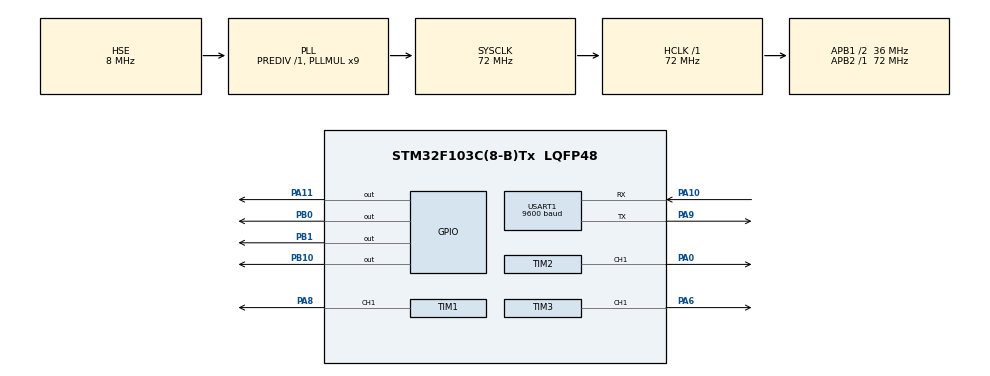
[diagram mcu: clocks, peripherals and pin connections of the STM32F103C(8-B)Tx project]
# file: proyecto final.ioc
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Mcu.Family=STM32F1
Mcu.Name=STM32F103C(8-B)Tx
Mcu.Package=LQFP48
NVIC.PriorityGroup=NVIC_PRIORITYGROUP_4
NVIC.USART1_IRQn=true\:0\:0\:false\:false\:true\:true\:true\:true
PA0-WKUP.Signal=S_TIM2_CH1_ETR
PA10.Mode=Asynchronous
PA10.Signal=USART1_RX
PA11.Signal=GPIO_Output
PA13.Mode=Serial_Wire
PA13.Signal=SYS_JTMS-SWDIO
PA14.Mode=Serial_Wire
PA14.Signal=SYS_JTCK-SWCLK
PA6.Signal=S_TIM3_CH1
PA8.Signal=S_TIM1_CH1
PA9.Mode=Asynchronous
PA9.Signal=USART1_TX
PB0.Signal=GPIO_Output
PB1.Signal=GPIO_Output
PB10.Signal=GPIO_Output
PD0-OSC_IN.Mode=HSE-External-Oscillator
PD0-OSC_IN.Signal=RCC_OSC_IN
PD1-OSC_OUT.Mode=HSE-External-Oscillator
PD1-OSC_OUT.Signal=RCC_OSC_OUT
ProjectManager.HeapSize=0x200
ProjectManager.StackSize=0x400
ProjectManager.TargetToolchain=STM32CubeIDE
RCC.AHBFreq_Value=72000000
RCC.APB1CLKDivider=RCC_HCLK_DIV2
RCC.APB1Freq_Value=36000000
RCC.APB1TimFreq_Value=72000000
RCC.APB2Freq_Value=72000000
RCC.APB2TimFreq_Value=72000000
RCC.HCLKFreq_Value=72000000
RCC.PLLMUL=RCC_PLL_MUL9
RCC.PLLSourceVirtual=RCC_PLLSOURCE_HSE
RCC.SYSCLKFreq_VALUE=72000000
RCC.SYSCLKSource=RCC_SYSCLKSOURCE_PLLCLK
RCC.USBFreq_Value=72000000
SH.S_TIM1_CH1.0=TIM1_CH1,PWM Generation1 CH1
SH.S_TIM2_CH1_ETR.0=TIM2_CH1,PWM Generation1 CH1
SH.S_TIM3_CH1.0=TIM3_CH1,PWM Generation1 CH1
TIM1.AutoReloadPreload=TIM_AUTORELOAD_PRELOAD_ENABLE
TIM1.Channel-PWM\ Generation1\ CH1=TIM_CHANNEL_1
TIM1.Period=19999
TIM1.Prescaler=71
TIM2.Channel-PWM\ Generation1\ CH1=TIM_CHANNEL_1
TIM2.Period=999
TIM2.Prescaler=71
TIM3.Channel-PWM\ Generation1\ CH1=TIM_CHANNEL_1
TIM3.Period=999
TIM3.Prescaler=71
USART1.BaudRate=9600
USART1.VirtualMode=VM_ASYNC
board=custom

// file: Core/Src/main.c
/* USER CODE BEGIN Header */
/**
  ******************************************************************************
  * @file           : main.c
  * @brief          : Main program body - Control 2 motores + Bluetooth + Servo
  ******************************************************************************
  */
/* USER CODE END Header */
#include "main.h"

/* USER CODE BEGIN Includes */
#include <string.h>
/* USER CODE END Includes */

/* USER CODE BEGIN PD */
#define MOTOR_DUTY       999   /* 0..999 => 100% (Period=999) */

// Valores para el servo (50Hz -> Periodo de 20ms -> 20000 cuentas)
// 0.5ms -> 500 cuentas (Posición 0 grados)
// 1.5ms -> 1500 cuentas (Posición 90 grados)
// 2.5ms -> 2500 cuentas (Posición 180 grados)
#define SERVO_ABIERTO    500   /* Grados para abrir la pinza */
#define SERVO_CERRADO    1200  /* Grados para cerrar la pinza */
/* USER CODE END PD */

TIM_HandleTypeDef htim1; // Añadido para el Servo
TIM_HandleTypeDef htim2;
TIM_HandleTypeDef htim3;

UART_HandleTypeDef huart1;

/* USER CODE BEGIN PV */
uint8_t rx_data;
uint8_t estado_pinza = 0; // 0 = Abierta, 1 = Cerrada
/* USER CODE END PV */

void SystemClock_Config(void);
static void MX_GPIO_Init(void);
static void MX_TIM1_Init(void); // Prototipo TIM1
static void MX_TIM2_Init(void);
static void MX_TIM3_Init(void);
static void MX_USART1_UART_Init(void);

/* USER CODE BEGIN 0 */

/* --- Funciones de control de motores --- */
static void MotorA_Adelante(uint32_t duty)
{
    HAL_GPIO_WritePin(GPIOB, GPIO_PIN_10, GPIO_PIN_SET);
    HAL_GPIO_WritePin(GPIOA, GPIO_PIN_11, GPIO_PIN_RESET);
    __HAL_TIM_SET_COMPARE(&htim2, TIM_CHANNEL_1, duty);
}

static void MotorA_Atras(uint32_t duty)
{
    HAL_GPIO_WritePin(GPIOB, GPIO_PIN_10, GPIO_PIN_RESET);
    HAL_GPIO_WritePin(GPIOA, GPIO_PIN_11, GPIO_PIN_SET);
    __HAL_TIM_SET_COMPARE(&htim2, TIM_CHANNEL_1, duty);
}

static void MotorA_Stop(void)
{
    HAL_GPIO_WritePin(GPIOB, GPIO_PIN_10, GPIO_PIN_RESET);
    HAL_GPIO_WritePin(GPIOA, GPIO_PIN_11, GPIO_PIN_RESET);
    __HAL_TIM_SET_COMPARE(&htim2, TIM_CHANNEL_1, 0);
}

static void MotorB_Adelante(uint32_t duty)
{
    HAL_GPIO_WritePin(GPIOB, GPIO_PIN_0, GPIO_PIN_SET);
    HAL_GPIO_WritePin(GPIOB, GPIO_PIN_1, GPIO_PIN_RESET);
    __HAL_TIM_SET_COMPARE(&htim3, TIM_CHANNEL_1, duty);
}

static void MotorB_Atras(uint32_t duty)
{
    HAL_GPIO_WritePin(GPIOB, GPIO_PIN_0, GPIO_PIN_RESET);
    HAL_GPIO_WritePin(GPIOB, GPIO_PIN_1, GPIO_PIN_SET);
    __HAL_TIM_SET_COMPARE(&htim3, TIM_CHANNEL_1, duty);
}

static void MotorB_Stop(void)
{
    HAL_GPIO_WritePin(GPIOB, GPIO_PIN_0, GPIO_PIN_RESET);
    HAL_GPIO_WritePin(GPIOB, GPIO_PIN_1, GPIO_PIN_RESET);
    __HAL_TIM_SET_COMPARE(&htim3, TIM_CHANNEL_1, 0);
}

/* --- Callback de recepción UART (Bluetooth) --- */
void HAL_UART_RxCpltCallback(UART_HandleTypeDef *huart)
{
  if (huart->Instance == USART1)
  {
    if (rx_data != '\n' && rx_data != '\r' && rx_data != ' ')
    {
        switch(rx_data)
        {
          case 'F': // Adelante
            MotorA_Adelante(MOTOR_DUTY);
            MotorB_Adelante(MOTOR_DUTY);
            break;

          case 'B': // Atrás
            MotorA_Atras(MOTOR_DUTY);
            MotorB_Atras(MOTOR_DUTY);
            break;

          case 'L': // Izquierda
            MotorA_Stop();
            MotorB_Adelante(MOTOR_DUTY);
            break;

          case 'R': // Derecha
            MotorA_Adelante(MOTOR_DUTY);
            MotorB_Stop();
            break;

          case 'S': // Stop
            MotorA_Stop();
            MotorB_Stop();
            break;

          case 'X': // Toggle Pinza
            if (estado_pinza == 0) {
                // Si está abierta, cerrar
                __HAL_TIM_SET_COMPARE(&htim1, TIM_CHANNEL_1, SERVO_CERRADO);
                estado_pinza = 1;
            } else {
                // Si está cerrada, abrir
                __HAL_TIM_SET_COMPARE(&htim1, TIM_CHANNEL_1, SERVO_ABIERTO);
                estado_pinza = 0;
            }
            break;

          default:
            MotorA_Stop();
            MotorB_Stop();
            break;
        }
    }
    HAL_UART_Receive_IT(&huart1, &rx_data, 1);
  }
}
/* USER CODE END 0 */

int main(void)
{
  HAL_Init();
  SystemClock_Config();

  MX_GPIO_Init();
  MX_TIM1_Init(); // Iniciamos TIM1
  MX_TIM2_Init();
  MX_TIM3_Init();
  MX_USART1_UART_Init();

  /* USER CODE BEGIN 2 */
  HAL_TIM_PWM_Start(&htim1, TIM_CHANNEL_1); // Arrancar PWM del Servo
  HAL_TIM_PWM_Start(&htim2, TIM_CHANNEL_1);
  HAL_TIM_PWM_Start(&htim3, TIM_CHANNEL_1);

  MotorA_Stop();
  MotorB_Stop();

  // Iniciar pinza abierta por defecto
  __HAL_TIM_SET_COMPARE(&htim1, TIM_CHANNEL_1, SERVO_ABIERTO);
  estado_pinza = 0;

  HAL_UART_Receive_IT(&huart1, &rx_data, 1);
  /* USER CODE END 2 */

  while (1)
  {
  }
}

void SystemClock_Config(void)
{
  RCC_OscInitTypeDef RCC_OscInitStruct = {0};
  RCC_ClkInitTypeDef RCC_ClkInitStruct = {0};

  RCC_OscInitStruct.OscillatorType = RCC_OSCILLATORTYPE_HSE;
  RCC_OscInitStruct.HSEState = RCC_HSE_ON;
  RCC_OscInitStruct.HSEPredivValue = RCC_HSE_PREDIV_DIV1;
  RCC_OscInitStruct.HSIState = RCC_HSI_ON;
  RCC_OscInitStruct.PLL.PLLState = RCC_PLL_ON;
  RCC_OscInitStruct.PLL.PLLSource = RCC_PLLSOURCE_HSE;
  RCC_OscInitStruct.PLL.PLLMUL = RCC_PLL_MUL9;
  if (HAL_RCC_OscConfig(&RCC_OscInitStruct) != HAL_OK)
  {
    Error_Handler();
  }

  RCC_ClkInitStruct.ClockType = RCC_CLOCKTYPE_HCLK|RCC_CLOCKTYPE_SYSCLK
                              |RCC_CLOCKTYPE_PCLK1|RCC_CLOCKTYPE_PCLK2;
  RCC_ClkInitStruct.SYSCLKSource = RCC_SYSCLKSOURCE_PLLCLK;
  RCC_ClkInitStruct.AHBCLKDivider = RCC_SYSCLK_DIV1;
  RCC_ClkInitStruct.APB1CLKDivider = RCC_HCLK_DIV2;
  RCC_ClkInitStruct.APB2CLKDivider = RCC_HCLK_DIV1;

  if (HAL_RCC_ClockConfig(&RCC_ClkInitStruct, FLASH_LATENCY_2) != HAL_OK)
  {
    Error_Handler();
  }
}

static void MX_TIM1_Init(void)
{
  TIM_MasterConfigTypeDef sMasterConfig = {0};
  TIM_OC_InitTypeDef sConfigOC = {0};
  TIM_BreakDeadTimeConfigTypeDef sBreakDeadTimeConfig = {0};

  htim1.Instance = TIM1;
  htim1.Init.Prescaler = 71;
  htim1.Init.CounterMode = TIM_COUNTERMODE_UP;
  htim1.Init.Period = 19999; // 20ms periodo (50Hz)
  htim1.Init.ClockDivision = TIM_CLOCKDIVISION_DIV1;
  htim1.Init.RepetitionCounter = 0;
  htim1.Init.AutoReloadPreload = TIM_AUTORELOAD_PRELOAD_ENABLE;
  if (HAL_TIM_PWM_Init(&htim1) != HAL_OK)
  {
    Error_Handler();
  }
  sMasterConfig.MasterOutputTrigger = TIM_TRGO_RESET;
  sMasterConfig.MasterSlaveMode = TIM_MASTERSLAVEMODE_DISABLE;
  if (HAL_TIMEx_MasterConfigSynchronization(&htim1, &sMasterConfig) != HAL_OK)
  {
    Error_Handler();
  }
  sConfigOC.OCMode = TIM_OCMODE_PWM1;
  sConfigOC.Pulse = SERVO_ABIERTO; // Posición inicial
  sConfigOC.OCPolarity = TIM_OCPOLARITY_HIGH;
  sConfigOC.OCNPolarity = TIM_OCNPOLARITY_HIGH;
  sConfigOC.OCFastMode = TIM_OCFAST_DISABLE;
  sConfigOC.OCIdleState = TIM_OCIDLESTATE_RESET;
  sConfigOC.OCNIdleState = TIM_OCNIDLESTATE_RESET;
  if (HAL_TIM_PWM_ConfigChannel(&htim1, &sConfigOC, TIM_CHANNEL_1) != HAL_OK)
  {
    Error_Handler();
  }

  sBreakDeadTimeConfig.OffStateRunMode = TIM_OSSR_DISABLE;
  sBreakDeadTimeConfig.OffStateIDLEMode = TIM_OSSI_DISABLE;
  sBreakDeadTimeConfig.LockLevel = TIM_LOCKLEVEL_OFF;
  sBreakDeadTimeConfig.DeadTime = 0;
  sBreakDeadTimeConfig.BreakState = TIM_BREAK_DISABLE;
  sBreakDeadTimeConfig.BreakPolarity = TIM_BREAKPOLARITY_HIGH;
  sBreakDeadTimeConfig.AutomaticOutput = TIM_AUTOMATICOUTPUT_DISABLE;
  if (HAL_TIMEx_ConfigBreakDeadTime(&htim1, &sBreakDeadTimeConfig) != HAL_OK)
  {
    Error_Handler();
  }

  HAL_TIM_MspPostInit(&htim1);
}

static void MX_TIM2_Init(void)
{
  TIM_MasterConfigTypeDef sMasterConfig = {0};
  TIM_OC_InitTypeDef sConfigOC = {0};

  htim2.Instance = TIM2;
  htim2.Init.Prescaler = 71;
  htim2.Init.CounterMode = TIM_COUNTERMODE_UP;
  htim2.Init.Period = 999;
  htim2.Init.ClockDivision = TIM_CLOCKDIVISION_DIV1;
  htim2.Init.AutoReloadPreload = TIM_AUTORELOAD_PRELOAD_DISABLE;
  if (HAL_TIM_PWM_Init(&htim2) != HAL_OK)
  {
    Error_Handler();
  }
  sMasterConfig.MasterOutputTrigger = TIM_TRGO_RESET;
  sMasterConfig.MasterSlaveMode = TIM_MASTERSLAVEMODE_DISABLE;
  if (HAL_TIMEx_MasterConfigSynchronization(&htim2, &sMasterConfig) != HAL_OK)
  {
    Error_Handler();
  }
  sConfigOC.OCMode = TIM_OCMODE_PWM1;
  sConfigOC.Pulse = 0;
  sConfigOC.OCPolarity = TIM_OCPOLARITY_HIGH;
  sConfigOC.OCFastMode = TIM_OCFAST_DISABLE;
  if (HAL_TIM_PWM_ConfigChannel(&htim2, &sConfigOC, TIM_CHANNEL_1) != HAL_OK)
  {
    Error_Handler();
  }
  HAL_TIM_MspPostInit(&htim2);
}

static void MX_TIM3_Init(void)
{
  TIM_MasterConfigTypeDef sMasterConfig = {0};
  TIM_OC_InitTypeDef sConfigOC = {0};

  htim3.Instance = TIM3;
  htim3.Init.Prescaler = 71;
  htim3.Init.CounterMode = TIM_COUNTERMODE_UP;
  htim3.Init.Period = 999;
  htim3.Init.ClockDivision = TIM_CLOCKDIVISION_DIV1;
  htim3.Init.AutoReloadPreload = TIM_AUTORELOAD_PRELOAD_DISABLE;
  if (HAL_TIM_PWM_Init(&htim3) != HAL_OK)
  {
    Error_Handler();
  }
  sMasterConfig.MasterOutputTrigger = TIM_TRGO_RESET;
  sMasterConfig.MasterSlaveMode = TIM_MASTERSLAVEMODE_DISABLE;
  if (HAL_TIMEx_MasterConfigSynchronization(&htim3, &sMasterConfig) != HAL_OK)
  {
    Error_Handler();
  }
  sConfigOC.OCMode = TIM_OCMODE_PWM1;
  sConfigOC.Pulse = 0;
  sConfigOC.OCPolarity = TIM_OCPOLARITY_HIGH;
  sConfigOC.OCFastMode = TIM_OCFAST_DISABLE;
  if (HAL_TIM_PWM_ConfigChannel(&htim3, &sConfigOC, TIM_CHANNEL_1) != HAL_OK)
  {
    Error_Handler();
  }
  HAL_TIM_MspPostInit(&htim3);
}

static void MX_USART1_UART_Init(void)
{
  huart1.Instance = USART1;
  huart1.Init.BaudRate = 9600;
  huart1.Init.WordLength = UART_WORDLENGTH_8B;
  huart1.Init.StopBits = UART_STOPBITS_1;
  huart1.Init.Parity = UART_PARITY_NONE;
  huart1.Init.Mode = UART_MODE_TX_RX;
  huart1.Init.HwFlowCtl = UART_HWCONTROL_NONE;
  huart1.Init.OverSampling = UART_OVERSAMPLING_16;
  if (HAL_UART_Init(&huart1) != HAL_OK)
  {
    Error_Handler();
  }
}

static void MX_GPIO_Init(void)
{
  GPIO_InitTypeDef GPIO_InitStruct = {0};

  __HAL_RCC_GPIOD_CLK_ENABLE();
  __HAL_RCC_GPIOA_CLK_ENABLE();
  __HAL_RCC_GPIOB_CLK_ENABLE();

  HAL_GPIO_WritePin(GPIOB, GPIO_PIN_0|GPIO_PIN_1|GPIO_PIN_10, GPIO_PIN_RESET);
  HAL_GPIO_WritePin(GPIOA, GPIO_PIN_11, GPIO_PIN_RESET);

  GPIO_InitStruct.Pin = GPIO_PIN_0|GPIO_PIN_1|GPIO_PIN_10;
  GPIO_InitStruct.Mode = GPIO_MODE_OUTPUT_PP;
  GPIO_InitStruct.Pull = GPIO_NOPULL;
  GPIO_InitStruct.Speed = GPIO_SPEED_FREQ_LOW;
  HAL_GPIO_Init(GPIOB, &GPIO_InitStruct);

  GPIO_InitStruct.Pin = GPIO_PIN_11;
  GPIO_InitStruct.Mode = GPIO_MODE_OUTPUT_PP;
  GPIO_InitStruct.Pull = GPIO_NOPULL;
  GPIO_InitStruct.Speed = GPIO_SPEED_FREQ_LOW;
  HAL_GPIO_Init(GPIOA, &GPIO_InitStruct);
}

void Error_Handler(void)
{
  __disable_irq();
  while (1)
  {
  }
}
